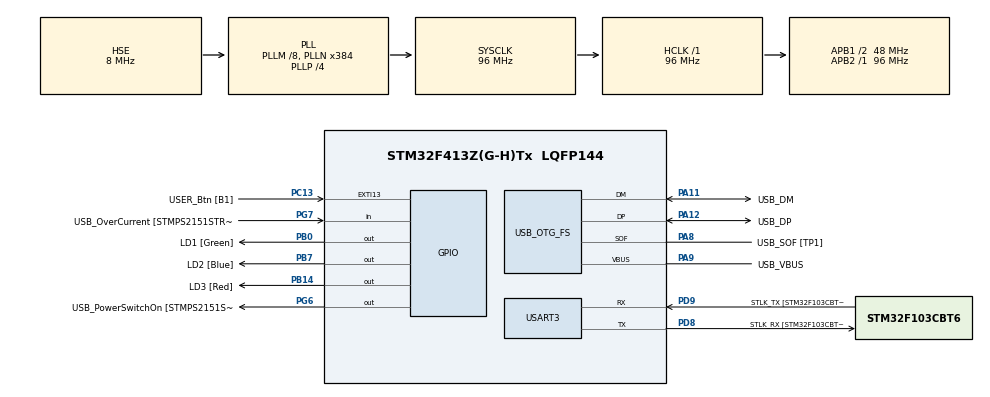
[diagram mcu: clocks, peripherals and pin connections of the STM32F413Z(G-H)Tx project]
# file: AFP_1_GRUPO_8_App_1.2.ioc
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Mcu.Family=STM32F4
Mcu.Name=STM32F413Z(G-H)Tx
Mcu.Package=LQFP144
NVIC.PriorityGroup=NVIC_PRIORITYGROUP_4
PA10.GPIO_Label=USB_ID
PA10.Signal=USB_OTG_FS_ID
PA11.GPIO_Label=USB_DM
PA11.Mode=Device_Only
PA11.Signal=USB_OTG_FS_DM
PA12.GPIO_Label=USB_DP
PA12.Mode=Device_Only
PA12.Signal=USB_OTG_FS_DP
PA13.GPIO_Label=TMS
PA13.Mode=Serial_Wire
PA13.Signal=SYS_JTMS-SWDIO
PA14.GPIO_Label=TCK
PA14.Mode=Serial_Wire
PA14.Signal=SYS_JTCK-SWCLK
PA8.GPIO_Label=USB_SOF [TP1]
PA8.Mode=Activate_SOF_FS
PA8.Signal=USB_OTG_FS_SOF
PA9.GPIO_Label=USB_VBUS
PA9.Mode=Activate_VBUS
PA9.Signal=USB_OTG_FS_VBUS
PB0.GPIO_Label=LD1 [Green]
PB0.Signal=GPIO_Output
PB14.GPIO_Label=LD3 [Red]
PB14.Signal=GPIO_Output
PB3.GPIO_Label=SWO
PB3.Signal=SYS_JTDO-SWO
PB7.GPIO_Label=LD2 [Blue]
PB7.Signal=GPIO_Output
PC13.GPIO_Label=USER_Btn [B1]
PC13.Signal=GPXTI13
PC14-OSC32_IN.Mode=LSE-External-Oscillator
PC14-OSC32_IN.Signal=RCC_OSC32_IN
PC15-OSC32_OUT.Mode=LSE-External-Oscillator
PC15-OSC32_OUT.Signal=RCC_OSC32_OUT
PD8.GPIO_Label=STLK_RX [STM32F103CBT6_PA3]
PD8.Mode=Asynchronous
PD8.Signal=USART3_TX
PD9.GPIO_Label=STLK_TX [STM32F103CBT6_PA2]
PD9.Mode=Asynchronous
PD9.Signal=USART3_RX
PG6.GPIO_Label=USB_PowerSwitchOn [STMPS2151STR_EN]
PG6.Signal=GPIO_Output
PG7.GPIO_Label=USB_OverCurrent [STMPS2151STR_FAULT]
PG7.Signal=GPIO_Input
PH0\ -\ OSC_IN.GPIO_Label=MCO
PH0\ -\ OSC_IN.Mode=HSE-External-Clock-Source
PH0\ -\ OSC_IN.Signal=RCC_OSC_IN
PH1\ -\ OSC_OUT.Mode=HSE-External-Clock-Source
PH1\ -\ OSC_OUT.Signal=RCC_OSC_OUT
ProjectManager.HeapSize=0x200
ProjectManager.StackSize=0x400
ProjectManager.TargetToolchain=STM32CubeIDE
RCC.48MHZClocksFreq_Value=24000000
RCC.AHBFreq_Value=96000000
RCC.APB1CLKDivider=RCC_HCLK_DIV2
RCC.APB1Freq_Value=48000000
RCC.APB1TimFreq_Value=96000000
RCC.APB2Freq_Value=96000000
RCC.APB2TimFreq_Value=96000000
RCC.CortexFreq_Value=96000000
RCC.HCLKFreq_Value=96000000
RCC.HSE_VALUE=8000000
RCC.HSI_VALUE=16000000
RCC.PLLM=8
RCC.PLLMUL=RCC_PLL_MUL9
RCC.PLLN=384
RCC.PLLP=RCC_PLLP_DIV4
RCC.PLLQ=8
RCC.PRESCALERUSB=RCC_USBCLKSOURCE_PLL_DIV1_5
RCC.SYSCLKFreq_VALUE=96000000
RCC.SYSCLKSource=RCC_SYSCLKSOURCE_PLLCLK
RCC.SYSCLKSourceVirtual=RCC_SYSCLKSOURCE_PLLCLK
RCC.USBFreq_Value=48000000
RCC.VCOOutputFreq_Value=384000000
USART3.VirtualMode=VM_ASYNC
USB_OTG_FS.VirtualMode=Device_Only
board=NUCLEO-F413ZH

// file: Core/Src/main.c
/* USER CODE BEGIN Header */
/**
  ******************************************************************************
  * @file           : main.c
  * @brief          : Main program body
  ******************************************************************************
  * @attention
  *
  * Copyright (c) 2024 STMicroelectronics.
  * All rights reserved.
  *
  * This software is licensed under terms that can be found in the LICENSE file
  * in the root directory of this software component.
  * If no LICENSE file comes with this software, it is provided AS-IS.
  *
  ******************************************************************************
  */
/* USER CODE END Header */
#include "main.h"
#include <stdbool.h>

/* USER CODE BEGIN PTD */
typedef enum{				//Se definen dos constantes enum para las secuencias y se utiliza typedef para asignarle el alias secuencia
	secuencia_1=1,
	secuencia_2=2,
	secuencia_3=3,
	secuencia_4=4
} secuencia;
/* USER CODE END PTD */

/* USER CODE BEGIN PD */
#define N 3 //variable N para definir el tamaño del vector LED
int LED[N]={LD1_Pin, LD2_Pin, LD3_Pin}; 	/*Vector de leds*/
secuencia estado_secuencia=secuencia_1;  //el estado inicial sera la secuencia normal

int estado_boton=0, estado_anterior=GPIO_PIN_RESET;		//Controlar si el boton esta presionado y si es que no mantuvo asi hasta que vuelva a controlarse el estado

/* USER CODE END PD */

UART_HandleTypeDef huart3;

PCD_HandleTypeDef hpcd_USB_OTG_FS;

/* USER CODE BEGIN PV */
void secuencia1(void);
void secuencia2(void);
void secuencia3(void);
void secuencia4(void);
/* USER CODE END PV */

void SystemClock_Config(void);
static void MX_GPIO_Init(void);
static void MX_USART3_UART_Init(void);
static void MX_USB_OTG_FS_PCD_Init(void);

int main(void)
{

  /* MCU Configuration--------------------------------------------------------*/

  /* Reset of all peripherals, Initializes the Flash interface and the Systick. */
  HAL_Init();

  /* Configure the system clock */
  SystemClock_Config();

  /* Initialize all configured peripherals */
  MX_GPIO_Init();
  MX_USART3_UART_Init();
  MX_USB_OTG_FS_PCD_Init();

  /* Infinite loop */
  /* USER CODE BEGIN WHILE */
  while (1)
  {
    /* Secuencia de parpadeo de leds que se alterna cada vez que se presiona el boton de usuario en la placa */

	  estado_boton=HAL_GPIO_ReadPin(GPIOC,USER_Btn_Pin);		//Compruebo si el boton esta presionado

	  if(estado_boton==GPIO_PIN_SET && estado_anterior==GPIO_PIN_RESET){	/*	-Cambia el estado de la secuencia
		  	  	  	  	  	  	  	  	  	  	  	  	  	  	  	  	  	 	- Evita que alterne una y otra vez si se lo mantiene presionado*/
		  	estado_secuencia=estado_secuencia+1; 							/*	Los valores para las 4 secuencias de 1 a 4*/

		  	if(estado_secuencia==5){
		  		estado_secuencia=1;											/* Cuando termina la secuencia 4 vuelve a la secuencia 1*/
		  	}
		  	HAL_GPIO_WritePin(GPIOB, LED[0] | LED[1]| LED[2], GPIO_PIN_RESET);
		  	HAL_Delay(500);													//Apagamos los leds para visualizar el cambio de secuencia al presionar el boton
	  }
	  estado_anterior=estado_boton;											/* Guarda el si el boton esta pulsado o no cuando se hizo el control*/

	  /* Selecciona cual secuencia se ejecutara*/
	  switch (estado_secuencia){

	  	  case 1:
	  		  	  	  secuencia1();
	  		  	  	  break;
	  	  case 2:
	  		  		  secuencia2();
	  		  		  break;
	  	  case 3:
	  		  		  secuencia3();
	  		  		  break;
	  	  case 4:
	  		  		  secuencia4();
	  		  		  break;
	  }

  }
}

void SystemClock_Config(void)
{
  RCC_OscInitTypeDef RCC_OscInitStruct = {0};
  RCC_ClkInitTypeDef RCC_ClkInitStruct = {0};

  /** Configure the main internal regulator output voltage
  */
  __HAL_RCC_PWR_CLK_ENABLE();
  __HAL_PWR_VOLTAGESCALING_CONFIG(PWR_REGULATOR_VOLTAGE_SCALE1);

  /** Initializes the RCC Oscillators according to the specified parameters
  * in the RCC_OscInitTypeDef structure.
  */
  RCC_OscInitStruct.OscillatorType = RCC_OSCILLATORTYPE_HSE;
  RCC_OscInitStruct.HSEState = RCC_HSE_BYPASS;
  RCC_OscInitStruct.PLL.PLLState = RCC_PLL_ON;
  RCC_OscInitStruct.PLL.PLLSource = RCC_PLLSOURCE_HSE;
  RCC_OscInitStruct.PLL.PLLM = 8;
  RCC_OscInitStruct.PLL.PLLN = 384;
  RCC_OscInitStruct.PLL.PLLP = RCC_PLLP_DIV4;
  RCC_OscInitStruct.PLL.PLLQ = 8;
  RCC_OscInitStruct.PLL.PLLR = 2;
  if (HAL_RCC_OscConfig(&RCC_OscInitStruct) != HAL_OK)
  {
    Error_Handler();
  }

  /** Initializes the CPU, AHB and APB buses clocks
  */
  RCC_ClkInitStruct.ClockType = RCC_CLOCKTYPE_HCLK|RCC_CLOCKTYPE_SYSCLK
                              |RCC_CLOCKTYPE_PCLK1|RCC_CLOCKTYPE_PCLK2;
  RCC_ClkInitStruct.SYSCLKSource = RCC_SYSCLKSOURCE_PLLCLK;
  RCC_ClkInitStruct.AHBCLKDivider = RCC_SYSCLK_DIV1;
  RCC_ClkInitStruct.APB1CLKDivider = RCC_HCLK_DIV2;
  RCC_ClkInitStruct.APB2CLKDivider = RCC_HCLK_DIV1;

  if (HAL_RCC_ClockConfig(&RCC_ClkInitStruct, FLASH_LATENCY_3) != HAL_OK)
  {
    Error_Handler();
  }
}

static void MX_USART3_UART_Init(void)
{

  huart3.Instance = USART3;
  huart3.Init.BaudRate = 115200;
  huart3.Init.WordLength = UART_WORDLENGTH_8B;
  huart3.Init.StopBits = UART_STOPBITS_1;
  huart3.Init.Parity = UART_PARITY_NONE;
  huart3.Init.Mode = UART_MODE_TX_RX;
  huart3.Init.HwFlowCtl = UART_HWCONTROL_NONE;
  huart3.Init.OverSampling = UART_OVERSAMPLING_16;
  if (HAL_UART_Init(&huart3) != HAL_OK)
  {
    Error_Handler();
  }

}

static void MX_USB_OTG_FS_PCD_Init(void)
{

  hpcd_USB_OTG_FS.Instance = USB_OTG_FS;
  hpcd_USB_OTG_FS.Init.dev_endpoints = 6;
  hpcd_USB_OTG_FS.Init.speed = PCD_SPEED_FULL;
  hpcd_USB_OTG_FS.Init.dma_enable = DISABLE;
  hpcd_USB_OTG_FS.Init.phy_itface = PCD_PHY_EMBEDDED;
  hpcd_USB_OTG_FS.Init.Sof_enable = ENABLE;
  hpcd_USB_OTG_FS.Init.low_power_enable = DISABLE;
  hpcd_USB_OTG_FS.Init.lpm_enable = DISABLE;
  hpcd_USB_OTG_FS.Init.battery_charging_enable = ENABLE;
  hpcd_USB_OTG_FS.Init.vbus_sensing_enable = ENABLE;
  hpcd_USB_OTG_FS.Init.use_dedicated_ep1 = DISABLE;
  if (HAL_PCD_Init(&hpcd_USB_OTG_FS) != HAL_OK)
  {
    Error_Handler();
  }

}

static void MX_GPIO_Init(void)
{
  GPIO_InitTypeDef GPIO_InitStruct = {0};

  /* GPIO Ports Clock Enable */
  __HAL_RCC_GPIOC_CLK_ENABLE();
  __HAL_RCC_GPIOH_CLK_ENABLE();
  __HAL_RCC_GPIOB_CLK_ENABLE();
  __HAL_RCC_GPIOD_CLK_ENABLE();
  __HAL_RCC_GPIOG_CLK_ENABLE();
  __HAL_RCC_GPIOA_CLK_ENABLE();

  /*Configure GPIO pin Output Level */
  HAL_GPIO_WritePin(GPIOB, LD1_Pin|LD3_Pin|LD2_Pin, GPIO_PIN_RESET);

  /*Configure GPIO pin Output Level */
  HAL_GPIO_WritePin(USB_PowerSwitchOn_GPIO_Port, USB_PowerSwitchOn_Pin, GPIO_PIN_RESET);

  /*Configure GPIO pin : USER_Btn_Pin */
  GPIO_InitStruct.Pin = USER_Btn_Pin;
  GPIO_InitStruct.Mode = GPIO_MODE_IT_RISING;
  GPIO_InitStruct.Pull = GPIO_NOPULL;
  HAL_GPIO_Init(USER_Btn_GPIO_Port, &GPIO_InitStruct);

  /*Configure GPIO pins : LD1_Pin LD3_Pin LD2_Pin */
  GPIO_InitStruct.Pin = LD1_Pin|LD3_Pin|LD2_Pin;
  GPIO_InitStruct.Mode = GPIO_MODE_OUTPUT_PP;
  GPIO_InitStruct.Pull = GPIO_NOPULL;
  GPIO_InitStruct.Speed = GPIO_SPEED_FREQ_LOW;
  HAL_GPIO_Init(GPIOB, &GPIO_InitStruct);

  /*Configure GPIO pin : USB_PowerSwitchOn_Pin */
  GPIO_InitStruct.Pin = USB_PowerSwitchOn_Pin;
  GPIO_InitStruct.Mode = GPIO_MODE_OUTPUT_PP;
  GPIO_InitStruct.Pull = GPIO_NOPULL;
  GPIO_InitStruct.Speed = GPIO_SPEED_FREQ_LOW;
  HAL_GPIO_Init(USB_PowerSwitchOn_GPIO_Port, &GPIO_InitStruct);

  /*Configure GPIO pin : USB_OverCurrent_Pin */
  GPIO_InitStruct.Pin = USB_OverCurrent_Pin;
  GPIO_InitStruct.Mode = GPIO_MODE_INPUT;
  GPIO_InitStruct.Pull = GPIO_NOPULL;
  HAL_GPIO_Init(USB_OverCurrent_GPIO_Port, &GPIO_InitStruct);

}

/* USER CODE BEGIN 4 */

// Funcion para hacer parpadear simultaneamente todos los leds cada 100ms
void secuencia1(void){

	HAL_GPIO_TogglePin(GPIOB, LED[0] | LED[1]| LED[2]);
	HAL_Delay(100);
}

// Funcion para hacer parpadear simultaneamente todos los leds cada 250ms
void secuencia2(void){

	HAL_GPIO_TogglePin(GPIOB, LED[0] | LED[1]| LED[2]);
	HAL_Delay(250);

}

// Funcion para hacer parpadear simultaneamente todos los leds cada 500ms
void secuencia3(){

	HAL_GPIO_TogglePin(GPIOB, LED[0] | LED[1]| LED[2]);
	HAL_Delay(500);

}

// Funcion para hacer parpadear simultaneamente todos los leds cada 1000ms
void secuencia4(){

	HAL_GPIO_TogglePin(GPIOB, LED[0] | LED[1]| LED[2]);
	HAL_Delay(1000);

}
/* USER CODE END 4 */

void Error_Handler(void)
{
  __disable_irq();
  while (1)
  {
  }
}
